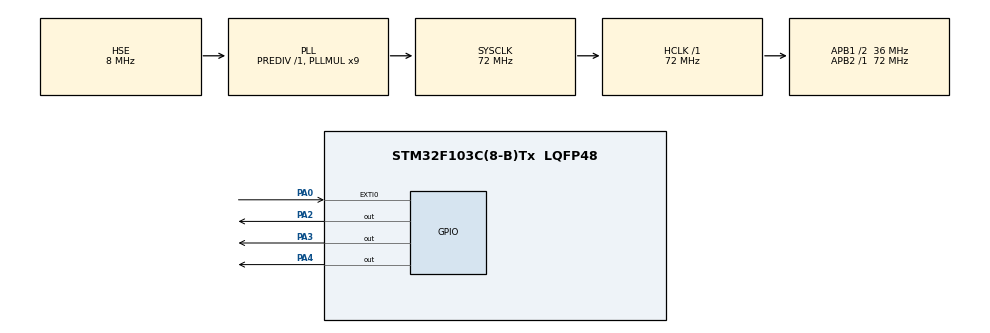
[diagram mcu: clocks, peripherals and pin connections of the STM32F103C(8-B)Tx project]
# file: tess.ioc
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Mcu.Family=STM32F1
Mcu.Name=STM32F103C(8-B)Tx
Mcu.Package=LQFP48
NVIC.EXTI0_IRQn=true\:0\:0\:false\:false\:true\:true\:true\:true
NVIC.PriorityGroup=NVIC_PRIORITYGROUP_4
NVIC.TIM2_IRQn=true\:0\:0\:false\:false\:true\:true\:true\:true
NVIC.TIM3_IRQn=true\:0\:0\:false\:false\:true\:true\:true\:true
NVIC.TIM4_IRQn=true\:0\:0\:false\:false\:true\:true\:true\:true
PA0-WKUP.Signal=GPXTI0
PA13.Mode=Serial_Wire
PA13.Signal=SYS_JTMS-SWDIO
PA14.Mode=Serial_Wire
PA14.Signal=SYS_JTCK-SWCLK
PA2.Signal=GPIO_Output
PA3.Signal=GPIO_Output
PA4.Signal=GPIO_Output
PD0-OSC_IN.Mode=HSE-External-Oscillator
PD0-OSC_IN.Signal=RCC_OSC_IN
PD1-OSC_OUT.Mode=HSE-External-Oscillator
PD1-OSC_OUT.Signal=RCC_OSC_OUT
ProjectManager.HeapSize=0x200
ProjectManager.StackSize=0x400
ProjectManager.TargetToolchain=STM32CubeIDE
RCC.AHBFreq_Value=72000000
RCC.APB1CLKDivider=RCC_HCLK_DIV2
RCC.APB1Freq_Value=36000000
RCC.APB1TimFreq_Value=72000000
RCC.APB2Freq_Value=72000000
RCC.APB2TimFreq_Value=72000000
RCC.HCLKFreq_Value=72000000
RCC.PLLMUL=RCC_PLL_MUL9
RCC.PLLSourceVirtual=RCC_PLLSOURCE_HSE
RCC.SYSCLKFreq_VALUE=72000000
RCC.SYSCLKSource=RCC_SYSCLKSOURCE_PLLCLK
RCC.USBFreq_Value=72000000
TIM2.Period=2000
TIM2.Prescaler=7200-1
TIM3.Period=3000
TIM3.Prescaler=7200-1
TIM4.Period=7000
TIM4.Prescaler=7200-1
VP_TIM2_VS_ClockSourceINT.Mode=Internal
VP_TIM3_VS_ClockSourceINT.Mode=Internal
VP_TIM4_VS_ClockSourceINT.Mode=Internal
board=custom

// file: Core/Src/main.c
/* USER CODE BEGIN Header */
/**
  ******************************************************************************
  * @file           : main.c
  * @brief          : Main program body
  ******************************************************************************
  * @attention
  *
  * Copyright (c) 2025 STMicroelectronics.
  * All rights reserved.
  *
  * This software is licensed under terms that can be found in the LICENSE file
  * in the root directory of this software component.
  * If no LICENSE file comes with this software, it is provided AS-IS.
  *
  ******************************************************************************
  */
/* USER CODE END Header */
#include "main.h"

TIM_HandleTypeDef htim2;
TIM_HandleTypeDef htim3;
TIM_HandleTypeDef htim4;

void SystemClock_Config(void);
static void MX_GPIO_Init(void);
static void MX_TIM2_Init(void);
static void MX_TIM3_Init(void);
static void MX_TIM4_Init(void);

/* USER CODE BEGIN 0 */
volatile uint8_t mode = 0;   // 0=OFF, 1=FADE, 2=FULL
static uint32_t lastPress = 0;  // pour l’anti-rebond
/* USER CODE END 0 */

int main(void)
{

  /* MCU Configuration--------------------------------------------------------*/

  /* Reset of all peripherals, Initializes the Flash interface and the Systick. */
  HAL_Init();

  /* Configure the system clock */
  SystemClock_Config();

  /* Initialize all configured peripherals */
  MX_GPIO_Init();
  MX_TIM2_Init();
  MX_TIM3_Init();
  MX_TIM4_Init();
  /* USER CODE BEGIN 2 */
  HAL_TIM_Base_Start_IT(&htim2);
  HAL_TIM_Base_Start_IT(&htim3);
  HAL_TIM_Base_Start_IT(&htim4);
  /* USER CODE END 2 */

  /* Infinite loop */
  while (1)
  {

  }
}

void SystemClock_Config(void)
{
  RCC_OscInitTypeDef RCC_OscInitStruct = {0};
  RCC_ClkInitTypeDef RCC_ClkInitStruct = {0};

  /** Initializes the RCC Oscillators according to the specified parameters
  * in the RCC_OscInitTypeDef structure.
  */
  RCC_OscInitStruct.OscillatorType = RCC_OSCILLATORTYPE_HSE;
  RCC_OscInitStruct.HSEState = RCC_HSE_ON;
  RCC_OscInitStruct.HSEPredivValue = RCC_HSE_PREDIV_DIV1;
  RCC_OscInitStruct.HSIState = RCC_HSI_ON;
  RCC_OscInitStruct.PLL.PLLState = RCC_PLL_ON;
  RCC_OscInitStruct.PLL.PLLSource = RCC_PLLSOURCE_HSE;
  RCC_OscInitStruct.PLL.PLLMUL = RCC_PLL_MUL9;
  if (HAL_RCC_OscConfig(&RCC_OscInitStruct) != HAL_OK)
  {
    Error_Handler();
  }

  /** Initializes the CPU, AHB and APB buses clocks
  */
  RCC_ClkInitStruct.ClockType = RCC_CLOCKTYPE_HCLK|RCC_CLOCKTYPE_SYSCLK
                              |RCC_CLOCKTYPE_PCLK1|RCC_CLOCKTYPE_PCLK2;
  RCC_ClkInitStruct.SYSCLKSource = RCC_SYSCLKSOURCE_PLLCLK;
  RCC_ClkInitStruct.AHBCLKDivider = RCC_SYSCLK_DIV1;
  RCC_ClkInitStruct.APB1CLKDivider = RCC_HCLK_DIV2;
  RCC_ClkInitStruct.APB2CLKDivider = RCC_HCLK_DIV1;

  if (HAL_RCC_ClockConfig(&RCC_ClkInitStruct, FLASH_LATENCY_2) != HAL_OK)
  {
    Error_Handler();
  }
}

static void MX_TIM2_Init(void)
{

  TIM_ClockConfigTypeDef sClockSourceConfig = {0};
  TIM_MasterConfigTypeDef sMasterConfig = {0};

  htim2.Instance = TIM2;
  htim2.Init.Prescaler = 7200-1;
  htim2.Init.CounterMode = TIM_COUNTERMODE_UP;
  htim2.Init.Period = 2000;
  htim2.Init.ClockDivision = TIM_CLOCKDIVISION_DIV1;
  htim2.Init.AutoReloadPreload = TIM_AUTORELOAD_PRELOAD_DISABLE;
  if (HAL_TIM_Base_Init(&htim2) != HAL_OK)
  {
    Error_Handler();
  }
  sClockSourceConfig.ClockSource = TIM_CLOCKSOURCE_INTERNAL;
  if (HAL_TIM_ConfigClockSource(&htim2, &sClockSourceConfig) != HAL_OK)
  {
    Error_Handler();
  }
  sMasterConfig.MasterOutputTrigger = TIM_TRGO_RESET;
  sMasterConfig.MasterSlaveMode = TIM_MASTERSLAVEMODE_DISABLE;
  if (HAL_TIMEx_MasterConfigSynchronization(&htim2, &sMasterConfig) != HAL_OK)
  {
    Error_Handler();
  }

}

static void MX_TIM3_Init(void)
{

  TIM_ClockConfigTypeDef sClockSourceConfig = {0};
  TIM_MasterConfigTypeDef sMasterConfig = {0};

  htim3.Instance = TIM3;
  htim3.Init.Prescaler = 7200-1;
  htim3.Init.CounterMode = TIM_COUNTERMODE_UP;
  htim3.Init.Period = 3000;
  htim3.Init.ClockDivision = TIM_CLOCKDIVISION_DIV1;
  htim3.Init.AutoReloadPreload = TIM_AUTORELOAD_PRELOAD_DISABLE;
  if (HAL_TIM_Base_Init(&htim3) != HAL_OK)
  {
    Error_Handler();
  }
  sClockSourceConfig.ClockSource = TIM_CLOCKSOURCE_INTERNAL;
  if (HAL_TIM_ConfigClockSource(&htim3, &sClockSourceConfig) != HAL_OK)
  {
    Error_Handler();
  }
  sMasterConfig.MasterOutputTrigger = TIM_TRGO_RESET;
  sMasterConfig.MasterSlaveMode = TIM_MASTERSLAVEMODE_DISABLE;
  if (HAL_TIMEx_MasterConfigSynchronization(&htim3, &sMasterConfig) != HAL_OK)
  {
    Error_Handler();
  }

}

static void MX_TIM4_Init(void)
{

  TIM_ClockConfigTypeDef sClockSourceConfig = {0};
  TIM_MasterConfigTypeDef sMasterConfig = {0};

  htim4.Instance = TIM4;
  htim4.Init.Prescaler = 7200-1;
  htim4.Init.CounterMode = TIM_COUNTERMODE_UP;
  htim4.Init.Period = 7000;
  htim4.Init.ClockDivision = TIM_CLOCKDIVISION_DIV1;
  htim4.Init.AutoReloadPreload = TIM_AUTORELOAD_PRELOAD_DISABLE;
  if (HAL_TIM_Base_Init(&htim4) != HAL_OK)
  {
    Error_Handler();
  }
  sClockSourceConfig.ClockSource = TIM_CLOCKSOURCE_INTERNAL;
  if (HAL_TIM_ConfigClockSource(&htim4, &sClockSourceConfig) != HAL_OK)
  {
    Error_Handler();
  }
  sMasterConfig.MasterOutputTrigger = TIM_TRGO_RESET;
  sMasterConfig.MasterSlaveMode = TIM_MASTERSLAVEMODE_DISABLE;
  if (HAL_TIMEx_MasterConfigSynchronization(&htim4, &sMasterConfig) != HAL_OK)
  {
    Error_Handler();
  }

}

static void MX_GPIO_Init(void)
{
  GPIO_InitTypeDef GPIO_InitStruct = {0};

  /* GPIO Ports Clock Enable */
  __HAL_RCC_GPIOD_CLK_ENABLE();
  __HAL_RCC_GPIOA_CLK_ENABLE();

  /*Configure GPIO pin Output Level */
  HAL_GPIO_WritePin(GPIOA, GPIO_PIN_2|GPIO_PIN_3|GPIO_PIN_4, GPIO_PIN_RESET);

  /*Configure GPIO pin : PA0 */
  GPIO_InitStruct.Pin = GPIO_PIN_0;
  GPIO_InitStruct.Mode = GPIO_MODE_IT_RISING;
  GPIO_InitStruct.Pull = GPIO_PULLUP;
  HAL_GPIO_Init(GPIOA, &GPIO_InitStruct);

  /*Configure GPIO pins : PA2 PA3 PA4 */
  GPIO_InitStruct.Pin = GPIO_PIN_2|GPIO_PIN_3|GPIO_PIN_4;
  GPIO_InitStruct.Mode = GPIO_MODE_OUTPUT_PP;
  GPIO_InitStruct.Pull = GPIO_NOPULL;
  GPIO_InitStruct.Speed = GPIO_SPEED_FREQ_LOW;
  HAL_GPIO_Init(GPIOA, &GPIO_InitStruct);

  /* EXTI interrupt init*/
  HAL_NVIC_SetPriority(EXTI0_IRQn, 0, 0);
  HAL_NVIC_EnableIRQ(EXTI0_IRQn);

}

/* USER CODE BEGIN 4 */
void HAL_TIM_PeriodElapsedCallback(TIM_HandleTypeDef *htim){
	if(htim -> Instance == TIM2){
		if (mode == 0){
			HAL_GPIO_TogglePin(GPIOA, GPIO_PIN_2);
		}
	}

	if(htim -> Instance == TIM3){
			if (mode == 1){
				HAL_GPIO_TogglePin(GPIOA, GPIO_PIN_2);
			}
		}
	if(htim -> Instance == TIM4){
			if (mode == 2){
				HAL_GPIO_TogglePin(GPIOA, GPIO_PIN_2);
			}
		}
}

void HAL_GPIO_EXTI_Callback(uint16_t GPIO_Pin)
{
    if (GPIO_Pin == GPIO_PIN_0)
    {
        uint32_t now = HAL_GetTick();

        if ((now - lastPress) < 30)   // anti-rebond 30 ms
            return;

        lastPress = now;

        mode++;
        if (mode > 2)
            mode = 0;
    }
}

/* USER CODE END 4 */

void Error_Handler(void)
{
  __disable_irq();
  while (1)
  {
  }
}
